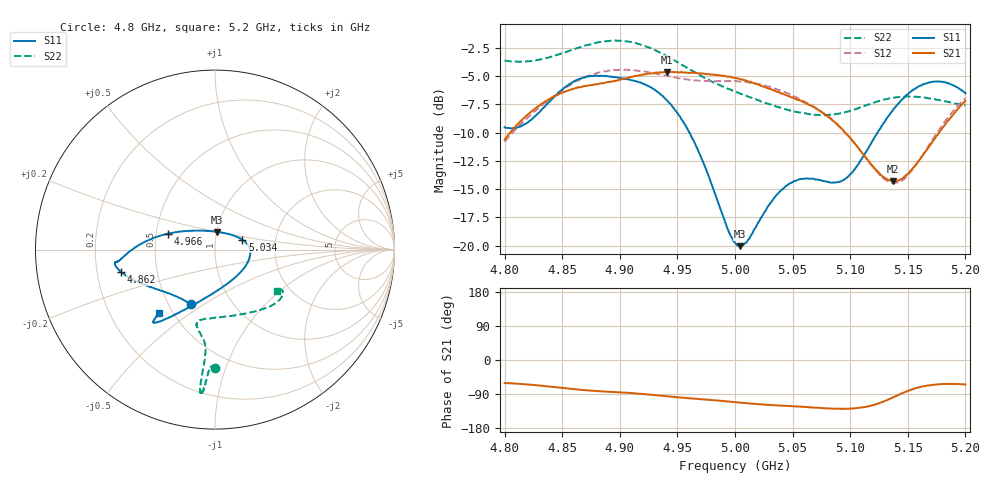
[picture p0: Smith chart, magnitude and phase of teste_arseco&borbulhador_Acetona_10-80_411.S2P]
! Network Analyzer HP8722D
! Hewlett-Packard
! Data name: Linha & Wilkinson
! Saver's name: Rodrigo Anjos
! Comments: Teste da utilização de aquisição
! continua pelo VNA HP8722D
! Time and date: 17/4/2025 17:47
!  Frequency  S11  S21  S12  S22
# HZ  S  MA R 50
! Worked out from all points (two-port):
!   401 points, 4.8 GHz to 5.2 GHz, reference 50 ohm
!   highest |S21| = -4.64 dB at 4.941 GHz (marker M1); lowest = -14.3 dB at 5.137 GHz (marker M2)
!   |S21| within 3 dB of the highest: 4.83 GHz to 5.066 GHz (236.4 MHz wide, 4.78 % of centre); 5.195883 GHz to end of sweep
!   lowest |S11| = -20.1 dB at 5.004 GHz (marker M3), VSWR 1.22, Z = 50 + j10 ohm
!   |S11| at or under -10 dB: 4.96 GHz to 5.124 GHz (163.4 MHz wide, 3.24 % of centre)
!   |S22| runs from -8.5 to -1.9 dB; largest |S21 - S12| = 0.88
!   S11 on the Smith chart (normalised r, x): 4.8 GHz: 0.64, -0.44; 4.862 GHz: 0.30, -0.11; 4.966 GHz: 0.58, +0.11; 5.034 GHz: 1.35, +0.15; 5.2 GHz: 0.42, -0.38
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4.8e9  0.3337 -113.9  0.2943 -60.9  0.2878 -175.1  0.6586 -90.2
4.819e9  0.3478 -133.9  0.3751 -64.4  0.3639 -173.9  0.6527 -91.7
4.862e9  0.5378 -166.5  0.4975 -77.4  0.5327 -177.2  0.7434 -94.1
4.867e9  0.5507 -168.5  0.5035 -79.0  0.5475 -178.2  0.7586 -94.2
4.9e9  0.5522 -172.9  0.5422 -85.5  0.5999 175.4  0.8041 -95.5
4.934e9  0.4735 -179.0  0.5825 -93.7  0.5723 171.7  0.7173 -96.0
4.941e9  0.4383 177.8  0.5863 -95.5  0.5638 171.7  0.6874 -95.8
4.966e9  0.2769 161.4  0.5794 -102.2  0.5379 173.7  0.5805 -95.2
5e9  0.103 98.2  0.5517 -111.4  0.5342 176.0  0.4795 -99.4
5.004e9  0.09942 84.0  0.5457 -112.4  0.5317 175.9  0.4718 -100.2
5.012e9  0.1067 58.8  0.5305 -114.4  0.5262 175.6  0.4544 -102.0
5.034e9  0.1627 19.8  0.4847 -119.4  0.4957 174.8  0.4146 -103.7
5.05e9  0.1907 3.8  0.4523 -122.1  0.4596 173.9  0.3946 -99.5
5.067e9  0.1979 -14.7  0.4134 -125.4  0.4145 173.4  0.3797 -90.5
5.086e9  0.1899 -44.9  0.3537 -128.5  0.3523 173.4  0.3805 -76.1
5.097e9  0.1993 -67.5  0.3107 -128.6  0.3109 174.7  0.3904 -67.0
5.134e9  0.3789 -117.2  0.1946 -103.2  0.1907 -156.1  0.4474 -43.0
5.137e9  0.3962 -119.1  0.1926 -99.0  0.1894 -151.2  0.4507 -41.7
5.15e9  0.4672 -124.9  0.2074 -81.7  0.2049 -131.3  0.4563 -36.8
5.17e9  0.5281 -129.5  0.2809 -66.1  0.2865 -112.2  0.447 -32.1
5.184e9  0.5241 -130.8  0.3523 -63.2  0.3639 -107.3  0.4333 -31.2
5.2e9  0.4713 -131.2  0.4366 -64.6  0.4482 -106.7  0.4162 -33.6
